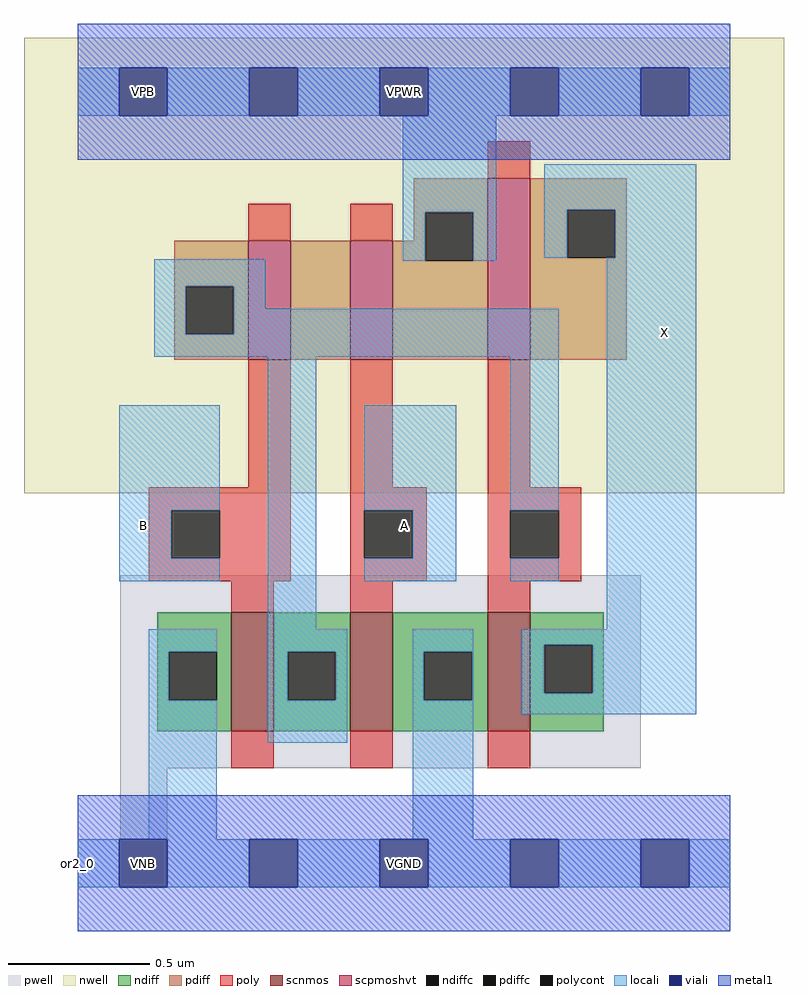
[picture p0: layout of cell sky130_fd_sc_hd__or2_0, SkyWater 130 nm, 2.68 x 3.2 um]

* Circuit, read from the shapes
.subckt sky130_fd_sc_hd__or2_0 A B VGND VNB VPB VPWR X
XM1 n1 B VGND VNB sky130_fd_pr__nfet_01v8 w=0.42 l=0.15
XM2 VGND A n1 VNB sky130_fd_pr__nfet_01v8 w=0.42 l=0.15
XM3 X n1 VGND VNB sky130_fd_pr__nfet_01v8 w=0.42 l=0.15
XM4 n2 B n1 VPB sky130_fd_pr__pfet_01v8_hvt w=0.42 l=0.15
XM5 VPWR A n2 VPB sky130_fd_pr__pfet_01v8_hvt w=0.42 l=0.15
XM6 X n1 VPWR VPB sky130_fd_pr__pfet_01v8_hvt w=0.64 l=0.15
.ends

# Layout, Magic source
magic
tech sky130A
magscale 1 2
<< nwell >>
rect -38 261 498 582
<< pwell >>
rect 30 67 397 203
rect 30 17 63 67
rect 29 -17 63 17
<< scnmos >>
rect 108 93 138 177
rect 192 93 222 177
rect 289 93 319 177
<< scpmoshvt >>
rect 120 355 150 439
rect 192 355 222 439
rect 289 355 319 483
<< ndiff >>
rect 56 149 108 177
rect 56 115 64 149
rect 98 115 108 149
rect 56 93 108 115
rect 138 149 192 177
rect 138 115 148 149
rect 182 115 192 149
rect 138 93 192 115
rect 222 149 289 177
rect 222 115 244 149
rect 278 115 289 149
rect 222 93 289 115
rect 319 154 371 177
rect 319 120 329 154
rect 363 120 371 154
rect 319 93 371 120
<< pdiff >>
rect 237 459 289 483
rect 237 439 245 459
rect 68 407 120 439
rect 68 373 76 407
rect 110 373 120 407
rect 68 355 120 373
rect 150 355 192 439
rect 222 425 245 439
rect 279 425 289 459
rect 222 355 289 425
rect 319 461 387 483
rect 319 427 345 461
rect 379 427 387 461
rect 319 355 387 427
<< ndiffc >>
rect 64 115 98 149
rect 148 115 182 149
rect 244 115 278 149
rect 329 120 363 154
<< pdiffc >>
rect 76 373 110 407
rect 245 425 279 459
rect 345 427 379 461
<< poly >>
rect 289 483 319 509
rect 120 439 150 465
rect 192 439 222 465
rect 120 265 150 355
rect 50 249 150 265
rect 50 215 66 249
rect 100 215 150 249
rect 50 199 150 215
rect 192 265 222 355
rect 289 265 319 355
rect 192 249 246 265
rect 192 215 202 249
rect 236 215 246 249
rect 192 199 246 215
rect 289 249 355 265
rect 289 215 305 249
rect 339 215 355 249
rect 289 199 355 215
rect 108 177 138 199
rect 192 177 222 199
rect 289 177 319 199
rect 108 67 138 93
rect 192 67 222 93
rect 289 67 319 93
<< polycont >>
rect 66 215 100 249
rect 202 215 236 249
rect 305 215 339 249
<< locali >>
rect 0 527 29 561
rect 63 527 121 561
rect 155 527 213 561
rect 247 527 305 561
rect 339 527 397 561
rect 431 527 460 561
rect 229 459 295 527
rect 54 407 132 426
rect 229 425 245 459
rect 279 425 295 459
rect 329 461 436 493
rect 329 427 345 461
rect 379 427 436 461
rect 54 373 76 407
rect 110 391 132 407
rect 110 373 339 391
rect 54 357 339 373
rect 29 249 100 323
rect 29 215 66 249
rect 29 199 100 215
rect 134 165 168 357
rect 202 249 267 323
rect 236 215 267 249
rect 202 199 267 215
rect 305 249 339 357
rect 305 199 339 215
rect 373 165 436 427
rect 50 149 98 165
rect 50 115 64 149
rect 50 17 98 115
rect 134 149 190 165
rect 134 115 148 149
rect 182 115 190 149
rect 134 85 190 115
rect 236 149 279 165
rect 236 115 244 149
rect 278 115 279 149
rect 236 17 279 115
rect 313 154 436 165
rect 313 120 329 154
rect 363 120 436 154
rect 313 105 436 120
rect 0 -17 29 17
rect 63 -17 121 17
rect 155 -17 213 17
rect 247 -17 305 17
rect 339 -17 397 17
rect 431 -17 460 17
<< viali >>
rect 29 527 63 561
rect 121 527 155 561
rect 213 527 247 561
rect 305 527 339 561
rect 397 527 431 561
rect 29 -17 63 17
rect 121 -17 155 17
rect 213 -17 247 17
rect 305 -17 339 17
rect 397 -17 431 17
<< metal1 >>
rect 0 561 460 592
rect 0 527 29 561
rect 63 527 121 561
rect 155 527 213 561
rect 247 527 305 561
rect 339 527 397 561
rect 431 527 460 561
rect 0 496 460 527
rect 0 17 460 48
rect 0 -17 29 17
rect 63 -17 121 17
rect 155 -17 213 17
rect 247 -17 305 17
rect 339 -17 397 17
rect 431 -17 460 17
rect 0 -48 460 -17
<< labels >>
flabel locali s 213 221 247 255 0 FreeSans 200 0 0 0 A
port 1 nsew signal input
flabel locali s 397 357 431 391 0 FreeSans 200 0 0 0 X
port 7 nsew signal output
flabel locali s 29 221 63 255 0 FreeSans 200 0 0 0 B
port 2 nsew signal input
flabel pwell s 29 -17 63 17 0 FreeSans 200 0 0 0 VNB
port 4 nsew ground bidirectional
flabel nwell s 29 527 63 561 0 FreeSans 200 0 0 0 VPB
port 5 nsew power bidirectional
flabel metal1 s 29 -17 63 17 0 FreeSans 200 0 0 0 VGND
port 3 nsew ground bidirectional abutment
flabel metal1 s 29 527 63 561 0 FreeSans 200 0 0 0 VPWR
port 6 nsew power bidirectional abutment
rlabel comment s 0 0 0 0 4 or2_0
rlabel metal1 s 0 -48 460 48 1 VGND
port 3 nsew ground bidirectional abutment
rlabel metal1 s 0 496 460 592 1 VPWR
port 6 nsew power bidirectional abutment
<< properties >>
string FIXED_BBOX 0 0 460 544
string GDS_END 980036
string GDS_FILE $PDKPATH/libs.ref/sky130_fd_sc_hd/gds/sky130_fd_sc_hd.gds
string GDS_START 976142
string LEFclass CORE
string LEFsite unithd
string LEFsymmetry X Y R90
string path 0.000 0.000 2.300 0.000 
<< end >>
